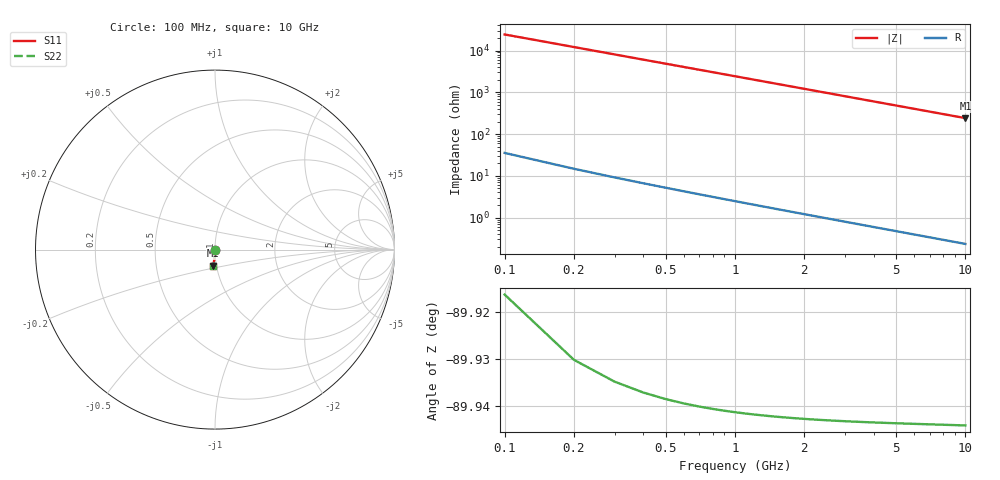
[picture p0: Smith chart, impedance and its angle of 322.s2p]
# Hz S RI R 50.00
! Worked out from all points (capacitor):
!   100 points, 100 MHz to 10 GHz, reference 50 ohm
!   read as one part in shunt: C = 65.6 fF near 100 MHz
!   lowest |Z| = 241 ohm at 10 GHz (marker M1)
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1e8  7.84e-05 -0.000893  0.9999 -0.00117  0.9999 -0.00117  7.84e-05 -0.000893
2e8  7.48e-05 -0.00179  0.9999 -0.00234  0.9999 -0.00234  7.48e-05 -0.00179
3e8  6.9e-05 -0.00268  0.9999 -0.00351  0.9999 -0.00351  6.9e-05 -0.00268
4e8  6.1e-05 -0.00357  0.9999 -0.00467  0.9999 -0.00467  6.1e-05 -0.00357
5e8  5.09e-05 -0.00446  0.9999 -0.00584  0.9999 -0.00584  5.09e-05 -0.00446
6e8  3.87e-05 -0.00536  0.9999 -0.00701  0.9999 -0.00701  3.87e-05 -0.00536
7e8  2.43e-05 -0.00625  0.9999 -0.00818  0.9999 -0.00818  2.43e-05 -0.00625
8e8  7.9e-06 -0.00714  0.9998 -0.00935  0.9998 -0.00935  7.9e-06 -0.00714
9e8  -1.06e-05 -0.00803  0.9998 -0.0105  0.9998 -0.0105  -1.06e-05 -0.00803
1.1e9  -5.4e-05 -0.00982  0.9998 -0.0129  0.9998 -0.0129  -5.4e-05 -0.00982
1.4e9  -0.000135 -0.0125  0.9997 -0.0164  0.9997 -0.0164  -0.000135 -0.0125
1.8e9  -0.000272 -0.0161  0.9995 -0.021  0.9995 -0.021  -0.000272 -0.0161
2.1e9  -0.000397 -0.0187  0.9994 -0.0246  0.9994 -0.0246  -0.000397 -0.0187
2.5e9  -0.000593 -0.0223  0.9992 -0.0292  0.9992 -0.0292  -0.000593 -0.0223
2.9e9  -0.000822 -0.0259  0.999 -0.0339  0.999 -0.0339  -0.000822 -0.0259
3.4e9  -0.00116 -0.0304  0.9986 -0.0398  0.9986 -0.0398  -0.00116 -0.0304
4.2e9  -0.0018 -0.0375  0.998 -0.0491  0.998 -0.0491  -0.0018 -0.0375
5.1e9  -0.00269 -0.0455  0.997 -0.0596  0.997 -0.0596  -0.00269 -0.0455
5.9e9  -0.00362 -0.0526  0.9961 -0.069  0.9961 -0.069  -0.00362 -0.0526
6.7e9  -0.00468 -0.0598  0.995 -0.0783  0.995 -0.0783  -0.00468 -0.0598
8.4e9  -0.00739 -0.0748  0.9922 -0.0981  0.9922 -0.0981  -0.00739 -0.0748
1e10  -0.0105 -0.0889  0.9889 -0.1167  0.9889 -0.1167  -0.0105 -0.0889
